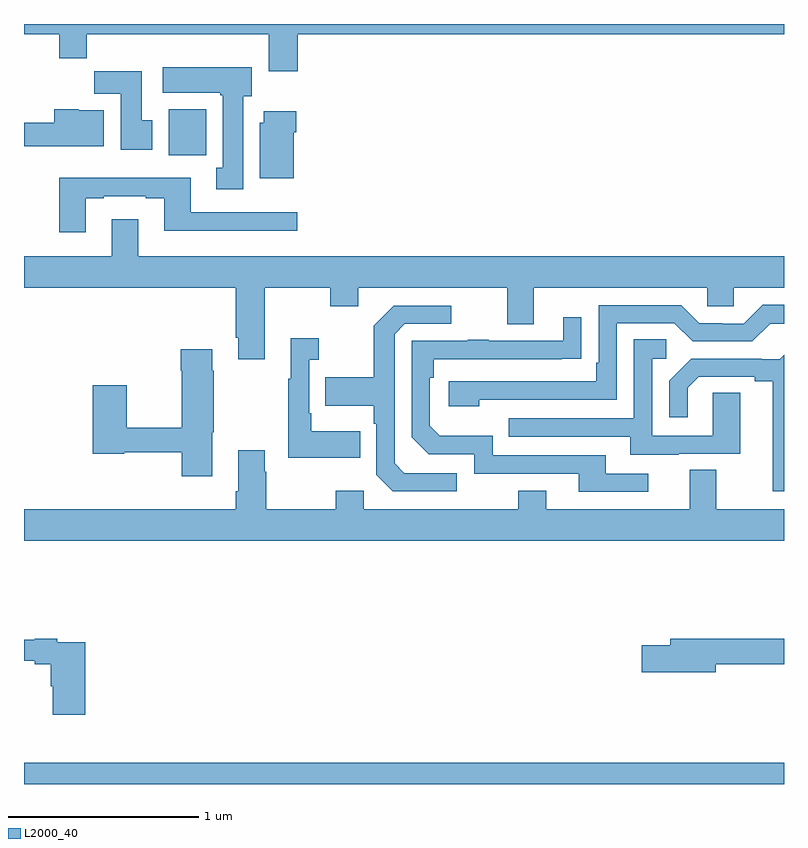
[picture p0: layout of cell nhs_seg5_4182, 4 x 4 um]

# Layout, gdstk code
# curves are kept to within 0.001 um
import gdstk
lib = gdstk.Library(unit=1e-6, precision=1e-09)
def R(c, l, rs):  # rectangles x0, y0, x1, y1
    for r in rs: c.add(gdstk.rectangle(r[:2], r[2:], *l))
def P(c, l, *ps):  # polygons
    for p in ps: c.add(gdstk.Polygon(p, *l))
L2000_40 = (2000, 40)

nhs_seg5_4182 = lib.new_cell('nhs_seg5_4182')
R(nhs_seg5_4182, L2000_40, [(357,868.799,361,868.912), (357.761,872.108,357.958,872.35)])
P(nhs_seg5_4182, L2000_40, [(358.442,872.744),(361,872.744),(361,872.799),(357,872.799),(357,872.744),(357.185,872.744),(357.185,872.62),(357.329,872.62),(357.329,872.744),(358.289,872.744),(358.289,872.55),(358.442,872.55)],
  [(358.153,872.418),(358.198,872.418),(358.198,872.572),(357.729,872.572),(357.729,872.438),(358.033,872.438),(358.033,872.425),(358.046,872.425),(358.046,872.042),(358.013,872.042),(358.013,871.929),(358.153,871.929)],
  [(357.676,872.292),(357.619,872.292),(357.619,872.551),(357.37,872.551),(357.37,872.432),(357.509,872.432),(357.509,872.136),(357.676,872.136)],
  [(357.421,872.344),(357.288,872.344),(357.288,872.35),(357.158,872.35),(357.158,872.278),(357,872.278),(357,872.156),(357.421,872.156)],
  [(358.42,872.228),(358.433,872.228),(358.433,872.341),(358.262,872.341),(358.262,872.28),(358.241,872.28),(358.241,871.988),(358.42,871.988)],
  [(357.325,871.881),(357.421,871.881),(357.421,871.893),(357.641,871.893),(357.641,871.881),(357.737,871.881),(357.737,871.712),(358.438,871.712),(358.438,871.809),(357.877,871.809),(357.877,871.99),(357.185,871.99),(357.185,871.704),(357.325,871.704)],
  [(357.601,871.771),(357.461,871.771),(357.461,871.576),(357,871.576),(357,871.412),(358.115,871.412),(358.115,871.147),(358.127,871.147),(358.127,871.035),(358.267,871.035),(358.267,871.412),(358.612,871.412),(358.612,871.313),(358.759,871.313),(358.759,871.412),(359.543,871.412),(359.543,871.218),(359.683,871.218),(359.683,871.412),(360.597,871.412),(360.597,871.314),(360.735,871.314),(360.735,871.412),(361,871.412),(361,871.576),(357.601,871.576)],
  [(359.396,870.822),(360.12,870.822),(360.12,871.224),(360.423,871.224),(360.519,871.128),(360.834,871.128),(360.927,871.221),(361,871.221),(361,871.321),(360.889,871.321),(360.789,871.221),(360.674,871.221),(360.674,871.224),(360.555,871.224),(360.459,871.32),(360.024,871.32),(360.024,871.015),(360.011,871.015),(360.011,870.918),(359.235,870.918),(359.235,870.788),(359.396,870.788)],
  [(359.278,870.435),(359.001,870.435),(358.95,870.486),(358.95,871.167),(359.004,871.221),(359.248,871.221),(359.248,871.317),(358.947,871.317),(358.842,871.211),(358.842,870.939),(358.585,870.939),(358.585,870.791),(358.842,870.791),(358.842,870.695),(358.854,870.695),(358.854,870.426),(358.941,870.339),(359.278,870.339)],
  [(360.286,870.432),(360.061,870.432),(360.061,870.528),(359.466,870.528),(359.466,870.631),(359.189,870.631),(359.136,870.684),(359.136,870.938),(359.156,870.938),(359.156,871.035),(359.933,871.036),(359.933,871.255),(359.837,871.255),(359.837,871.131),(359.447,871.131),(359.447,871.136),(359.335,871.136),(359.335,871.131),(359.04,871.131),(359.04,870.624),(359.13,870.534),(359.37,870.534),(359.37,870.432),(359.921,870.432),(359.921,870.336),(360.286,870.336)],
  [(358.769,870.655),(358.513,870.655),(358.513,870.751),(358.5,870.751),(358.5,871.031),(358.552,871.031),(358.552,871.144),(358.403,871.144),(358.403,870.931),(358.392,870.931),(358.392,870.515),(358.769,870.515)],
  [(360.445,870.537),(360.769,870.537),(360.769,870.857),(360.624,870.857),(360.624,870.633),(360.306,870.633),(360.306,871.038),(360.379,871.038),(360.379,871.139),(360.21,871.139),(360.21,870.723),(359.551,870.723),(359.551,870.627),(360.191,870.627),(360.191,870.533),(360.445,870.533)],
  [(357.991,870.651),(357.999,870.651),(357.999,870.974),(357.991,870.974),(357.991,871.087),(357.824,871.087),(357.824,870.974),(357.829,870.974),(357.829,870.674),(357.54,870.674),(357.54,870.898),(357.362,870.898),(357.362,870.538),(357.528,870.538),(357.528,870.546),(357.829,870.546),(357.829,870.42),(357.991,870.42)],
  [(361,871.057),(360.978,871.035),(360.884,871.035),(360.884,871.038),(360.512,871.038),(360.396,870.922),(360.396,870.729),(360.493,870.729),(360.493,870.885),(360.55,870.942),(360.845,870.942),(360.845,870.92),(360.941,870.92),(360.941,870.339),(361,870.339)],
  [(361,870.244),(360.643,870.244),(360.643,870.452),(360.503,870.452),(360.503,870.244),(359.749,870.244),(359.749,870.343),(359.602,870.343),(359.602,870.244),(358.788,870.244),(358.788,870.343),(358.642,870.343),(358.642,870.244),(358.275,870.244),(358.275,870.443),(358.267,870.443),(358.267,870.556),(358.127,870.556),(358.127,870.34),(358.115,870.34),(358.115,870.244),(357,870.244),(357,870.08),(361,870.08)],
  [(360.64,869.428),(361,869.428),(361,869.564),(360.401,869.564),(360.401,869.528),(360.252,869.528),(360.252,869.386),(360.64,869.386)],
  [(357.323,869.544),(357.176,869.544),(357.176,869.564),(357.056,869.564),(357.056,869.557),(357,869.557),(357,869.447),(357.056,869.447),(357.056,869.428),(357.14,869.428),(357.14,869.313),(357.152,869.313),(357.152,869.163),(357.323,869.163)])

lib.write_gds('nhs_seg5_4182.gds')
